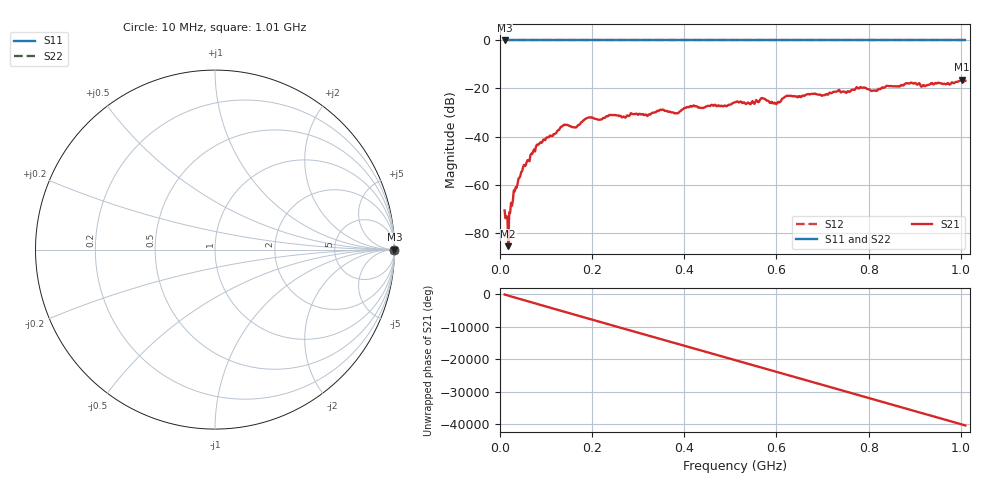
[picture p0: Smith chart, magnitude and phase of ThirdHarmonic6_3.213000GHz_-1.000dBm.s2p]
! 8/17/2025 9:47:25 AM
! C:\ANRITSUVNA\TEMP\TEMP.S2P
! CHANNEL.1
! TR.MEASUREMENT
! RAW.DATA
! RF.CORRECTION.OFF
! AVERAGING.OFF
! IF.BANDWIDTH: 5KHZ
! SWEEPTYPE:  FREQ.SWEEP(Linear)
! Reference Plane Port Info
! PORT:  PORT1  PORT2
! DISTANCE:  0  m  0  m
! TIME:  0  s  0  s
! PHASE.OFFSET:  0  deg.  0  deg.
! LOSS:  0  dB  0  dB
! REF.LOSS:  0  dB  0  dB
! REF.FREQ:  0  Hz  0  Hz
! Power Info
! POWER:  -20  dBm  -20  dBm
! EFF.POWER:  -20  dBm  -20  dBm
! SOURCE.ATTEN:  0  dB  0  dB
! TEST.ATTEN:  0  dB  0  dB
# GHZ S RI R 50.0
! FREQ.GHZ  S11RE  S11IM  S21RE  S21IM  S12RE  S12IM  S22RE  S22IM
!; PortSelection: Port_12
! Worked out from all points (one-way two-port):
!   501 points, 10 MHz to 1.01 GHz, reference 50 ohm
!   highest |S21| = -16.35 dB at 1.002 GHz (marker M1); lowest = -85.6 dB at 18 MHz (marker M2)
!   lowest |S11| = 0.0 dB at 10 MHz (marker M3)
!   |S11| at or under -10 dB: nowhere
!   |S22| runs from 0.0 to 0.0 dB; largest |S21 - S12| = 1.1
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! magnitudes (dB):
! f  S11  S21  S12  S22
! 10 MHz  0.0  -70.8  0.0  0.0
! 18 MHz  0.0  -85.6  0.0  0.0
! 34 MHz  0.0  -61.2  0.0  0.0
! 48 MHz  0.0  -54.4  0.0  0.0
! 82 MHz  0.0  -43.5  0.0  0.0
! 136 MHz  0.0  -35.6  0.0  0.0
! 162 MHz  0.0  -36.2  0.0  0.0
! 178 MHz  0.0  -33.9  0.0  0.0
! 194 MHz  0.0  -32.0  0.0  0.0
! 344 MHz  0.0  -29.4  0.0  0.0
! 382 MHz  0.0  -30.3  0.0  0.0
! 416 MHz  0.0  -27.6  0.0  0.0
! 510 MHz  0.0  -25.7  0.0  0.0
! 570 MHz  0.0  -24.0  0.0  0.0
! 596 MHz  0.0  -25.9  0.0  0.0
! 624 MHz  0.0  -23.0  0.0  0.0
! 678 MHz  0.0  -22.2  0.0  0.0
! 786 MHz  0.0  -19.7  0.0  0.0
! 814 MHz  0.0  -20.8  0.0  0.0
! 844 MHz  0.0  -19.0  0.0  0.0
! 1.002 GHz  0.0  -16.4  0.0  0.0
! 1.01 GHz  0.0  -16.8  0.0  0.0
